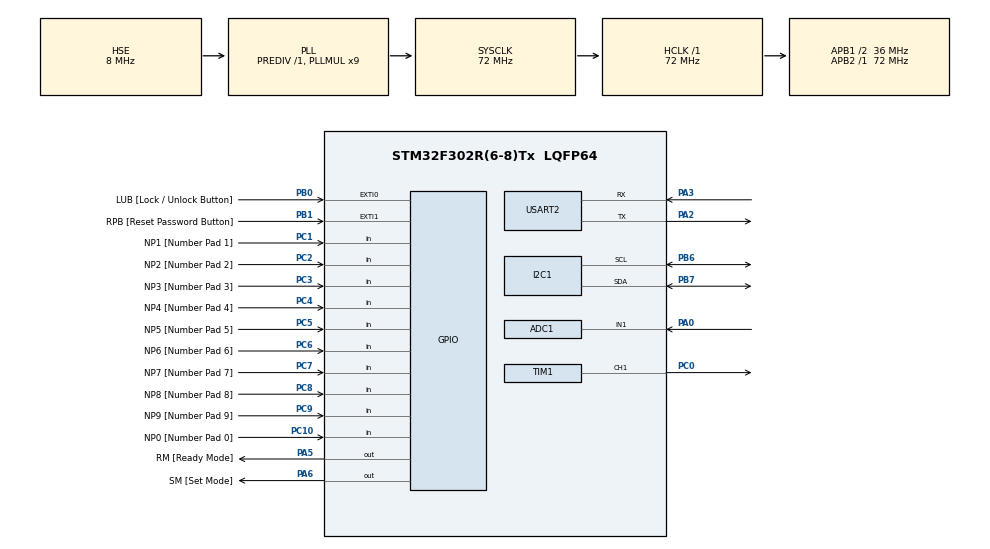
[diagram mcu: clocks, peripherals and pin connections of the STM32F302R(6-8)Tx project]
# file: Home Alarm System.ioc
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ADC1.Channel-0\#ChannelRegularConversion=ADC_CHANNEL_1
ADC1.NbrOfConversionFlag=1
ADC1.Offset-0\#ChannelRegularConversion=0
ADC1.OffsetNumber-0\#ChannelRegularConversion=ADC_OFFSET_NONE
ADC1.Rank-0\#ChannelRegularConversion=1
ADC1.SamplingTime-0\#ChannelRegularConversion=ADC_SAMPLETIME_1CYCLE_5
ADC1.SubFamily=STM32F302x8
ADC1.master=1
I2C1.Timing=0x00201D2B
Mcu.Family=STM32F3
Mcu.Name=STM32F302R(6-8)Tx
Mcu.Package=LQFP64
NVIC.EXTI0_IRQn=true\:0\:0\:false\:false\:true\:true\:true\:true
NVIC.EXTI1_IRQn=true\:0\:0\:false\:false\:true\:true\:true\:true
NVIC.PriorityGroup=NVIC_PRIORITYGROUP_4
NVIC.TIM2_IRQn=true\:0\:0\:false\:false\:true\:true\:true\:true
NVIC.TIM6_DAC_IRQn=true\:0\:0\:false\:false\:true\:true\:true\:true
PA0.Mode=IN1-Single-Ended
PA0.Signal=ADC1_IN1
PA13.Mode=Serial_Wire
PA13.Signal=SYS_JTMS-SWDIO
PA14.Mode=Serial_Wire
PA14.Signal=SYS_JTCK-SWCLK
PA2.Mode=Asynchronous
PA2.Signal=USART2_TX
PA3.Mode=Asynchronous
PA3.Signal=USART2_RX
PA5.GPIO_Label=RM [Ready Mode]
PA5.Signal=GPIO_Output
PA6.GPIO_Label=SM [Set Mode]
PA6.Signal=GPIO_Output
PB0.GPIO_Label=LUB [Lock / Unlock Button]
PB0.GPIO_PuPd=GPIO_PULLUP
PB0.Signal=GPXTI0
PB1.GPIO_Label=RPB [Reset Password Button]
PB1.Signal=GPXTI1
PB6.Mode=I2C
PB6.Signal=I2C1_SCL
PB7.Mode=I2C
PB7.Signal=I2C1_SDA
PC0.Signal=S_TIM1_CH1
PC1.GPIO_Label=NP1 [Number Pad 1]
PC1.GPIO_PuPd=GPIO_PULLUP
PC1.Signal=GPIO_Input
PC10.GPIO_Label=NP0 [Number Pad 0]
PC10.GPIO_PuPd=GPIO_PULLUP
PC10.Signal=GPIO_Input
PC2.GPIO_Label=NP2 [Number Pad 2]
PC2.GPIO_PuPd=GPIO_PULLUP
PC2.Signal=GPIO_Input
PC3.GPIO_Label=NP3 [Number Pad 3]
PC3.GPIO_PuPd=GPIO_PULLUP
PC3.Signal=GPIO_Input
PC4.GPIO_Label=NP4 [Number Pad 4]
PC4.GPIO_PuPd=GPIO_PULLUP
PC4.Signal=GPIO_Input
PC5.GPIO_Label=NP5 [Number Pad 5]
PC5.GPIO_PuPd=GPIO_PULLUP
PC5.Signal=GPIO_Input
PC6.GPIO_Label=NP6 [Number Pad 6]
PC6.GPIO_PuPd=GPIO_PULLUP
PC6.Signal=GPIO_Input
PC7.GPIO_Label=NP7 [Number Pad 7]
PC7.GPIO_PuPd=GPIO_PULLUP
PC7.Signal=GPIO_Input
PC8.GPIO_Label=NP8 [Number Pad 8]
PC8.GPIO_PuPd=GPIO_PULLUP
PC8.Signal=GPIO_Input
PC9.GPIO_Label=NP9 [Number Pad 9]
PC9.GPIO_PuPd=GPIO_PULLUP
PC9.Signal=GPIO_Input
PF0-OSC_IN.Mode=HSE-External-Oscillator
PF0-OSC_IN.Signal=RCC_OSC_IN
PF1-OSC_OUT.Mode=HSE-External-Oscillator
PF1-OSC_OUT.Signal=RCC_OSC_OUT
ProjectManager.HeapSize=0x200
ProjectManager.StackSize=0x400
ProjectManager.TargetToolchain=STM32CubeIDE
RCC.AHBFreq_Value=72000000
RCC.APB1CLKDivider=RCC_HCLK_DIV2
RCC.APB1Freq_Value=36000000
RCC.APB1TimFreq_Value=72000000
RCC.APB2Freq_Value=72000000
RCC.APB2TimFreq_Value=72000000
RCC.CortexFreq_Value=72000000
RCC.HCLKFreq_Value=72000000
RCC.HSE_VALUE=8000000
RCC.HSI_VALUE=8000000
RCC.LSE_VALUE=32768
RCC.PLLMUL=RCC_PLL_MUL9
RCC.PLLSourceVirtual=RCC_PLLSOURCE_HSE
RCC.SYSCLKFreq_VALUE=72000000
RCC.SYSCLKSourceVirtual=RCC_SYSCLKSOURCE_PLLCLK
RCC.USBFreq_Value=72000000
SH.S_TIM1_CH1.0=TIM1_CH1,PWM Generation1 CH1
TIM1.Channel-PWM\ Generation1\ CH1=TIM_CHANNEL_1
TIM1.Period=3522
TIM1.Prescaler=30
TIM2.Period=3522
TIM2.Prescaler=30
TIM6.Period=1799
TIM6.Prescaler=3999
USART2.VirtualMode-Asynchronous=VM_ASYNC
VP_TIM2_VS_ClockSourceINT.Mode=Internal
VP_TIM6_VS_ClockSourceINT.Mode=Enable_Timer
board=custom

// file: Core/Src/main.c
/* USER CODE BEGIN Header */
/**
  ******************************************************************************
  * @file           : main.c
  * @brief          : Main program body
  ******************************************************************************
  * @attention
  *
  * Copyright (c) 2024 STMicroelectronics.
  * All rights reserved.
  *
  * This software is licensed under terms that can be found in the LICENSE file
  * in the root directory of this software component.
  * If no LICENSE file comes with this software, it is provided AS-IS.
  *
  ******************************************************************************
  */
/* USER CODE END Header */
#include "main.h"

/* USER CODE BEGIN Includes */
#include "liquidcrystal_i2c.h"
#include "alarm_system.h"
/* USER CODE END Includes */

ADC_HandleTypeDef hadc1;

I2C_HandleTypeDef hi2c1;

TIM_HandleTypeDef htim1;
TIM_HandleTypeDef htim2;
TIM_HandleTypeDef htim6;

UART_HandleTypeDef huart2;

void SystemClock_Config(void);
static void MX_GPIO_Init(void);
static void MX_ADC1_Init(void);
static void MX_I2C1_Init(void);
static void MX_TIM1_Init(void);
static void MX_TIM2_Init(void);
static void MX_USART2_UART_Init(void);
static void MX_TIM6_Init(void);
/* USER CODE BEGIN PFP */
void AlarmPeripheral_Init(void);
void AlarmIO_Test(void);
/* USER CODE END PFP */

/* USER CODE BEGIN 0 */
void AlarmPeripheral_Init(void) {
	// Set up timer 1 PWM and timer 2 and 6 interrupts
	HAL_TIM_PWM_Start(&htim1, TIM_CHANNEL_1);

	HAL_NVIC_SetPriority(TIM6_DAC_IRQn, 0, 0);
	HAL_NVIC_EnableIRQ(TIM6_DAC_IRQn);
	HAL_TIM_Base_Start_IT(&htim6);

	HAL_NVIC_SetPriority(TIM2_IRQn, 0, 0);
	HAL_NVIC_EnableIRQ(TIM2_IRQn);
	HAL_TIM_Base_Start_IT(&htim2);

	// Set up LCD screen
	HD44780_Init(2);
	HD44780_Clear();

	// Set Ready Mode LED
	HAL_GPIO_WritePin(RM_GPIO_Port, RM_Pin, GPIO_PIN_SET);
}

void AlarmIO_Test(void) {
	HAL_TIM_Base_Stop_IT(&htim6);
	HAL_TIM_Base_Stop_IT(&htim2);
	HAL_GPIO_WritePin(RM_GPIO_Port, RM_Pin, GPIO_PIN_RESET);

	// Test LCD screen
	HD44780_SetCursor(0, 0);
	HD44780_PrintStr("WELCOME TO");
	HD44780_SetCursor(0, 1);
	HD44780_PrintStr("VANDAR SYSTEMS");

	// Test Passive buzzer
	__HAL_TIM_SET_AUTORELOAD(&htim1, ENABLE_BEEP * 2);
	__HAL_TIM_SET_COMPARE(&htim1, TIM_CHANNEL_1, ENABLE_BEEP);

	// Test LEDs
	HAL_GPIO_WritePin(RM_GPIO_Port, RM_Pin, GPIO_PIN_SET);
	HAL_Delay(250);

	HAL_GPIO_WritePin(SM_GPIO_Port, SM_Pin, GPIO_PIN_SET);
	HAL_Delay(250);

	HD44780_Clear();
	__HAL_TIM_SET_AUTORELOAD(&htim1, DISABLE_BEEP * 2);
	__HAL_TIM_SET_COMPARE(&htim1, TIM_CHANNEL_1, DISABLE_BEEP);

	HAL_GPIO_WritePin(RM_GPIO_Port, RM_Pin, GPIO_PIN_RESET);
	HAL_Delay(250);

	HAL_GPIO_WritePin(SM_GPIO_Port, SM_Pin, GPIO_PIN_RESET);
	HAL_Delay(250);

	HAL_TIM_Base_Start_IT(&htim6);
	HAL_TIM_Base_Start_IT(&htim2);
	HAL_GPIO_WritePin(RM_GPIO_Port, RM_Pin, GPIO_PIN_SET);
}
/* USER CODE END 0 */

int main(void)
{

  /* MCU Configuration--------------------------------------------------------*/

  /* Reset of all peripherals, Initializes the Flash interface and the Systick. */
  HAL_Init();

  /* Configure the system clock */
  SystemClock_Config();

  /* Initialize all configured peripherals */
  MX_GPIO_Init();
  MX_ADC1_Init();
  MX_I2C1_Init();
  MX_TIM1_Init();
  MX_TIM2_Init();
  MX_USART2_UART_Init();
  MX_TIM6_Init();
  /* USER CODE BEGIN 2 */
  System_Init();
  AlarmPeripheral_Init();
//  AlarmIO_Test();
  /* USER CODE END 2 */

  /* Infinite loop */
  while (1)
  {

  }
}

void SystemClock_Config(void)
{
  RCC_OscInitTypeDef RCC_OscInitStruct = {0};
  RCC_ClkInitTypeDef RCC_ClkInitStruct = {0};
  RCC_PeriphCLKInitTypeDef PeriphClkInit = {0};

  /** Initializes the RCC Oscillators according to the specified parameters
  * in the RCC_OscInitTypeDef structure.
  */
  RCC_OscInitStruct.OscillatorType = RCC_OSCILLATORTYPE_HSI|RCC_OSCILLATORTYPE_HSE;
  RCC_OscInitStruct.HSEState = RCC_HSE_ON;
  RCC_OscInitStruct.HSEPredivValue = RCC_HSE_PREDIV_DIV1;
  RCC_OscInitStruct.HSIState = RCC_HSI_ON;
  RCC_OscInitStruct.HSICalibrationValue = RCC_HSICALIBRATION_DEFAULT;
  RCC_OscInitStruct.PLL.PLLState = RCC_PLL_ON;
  RCC_OscInitStruct.PLL.PLLSource = RCC_PLLSOURCE_HSE;
  RCC_OscInitStruct.PLL.PLLMUL = RCC_PLL_MUL9;
  if (HAL_RCC_OscConfig(&RCC_OscInitStruct) != HAL_OK)
  {
    Error_Handler();
  }

  /** Initializes the CPU, AHB and APB buses clocks
  */
  RCC_ClkInitStruct.ClockType = RCC_CLOCKTYPE_HCLK|RCC_CLOCKTYPE_SYSCLK
                              |RCC_CLOCKTYPE_PCLK1|RCC_CLOCKTYPE_PCLK2;
  RCC_ClkInitStruct.SYSCLKSource = RCC_SYSCLKSOURCE_PLLCLK;
  RCC_ClkInitStruct.AHBCLKDivider = RCC_SYSCLK_DIV1;
  RCC_ClkInitStruct.APB1CLKDivider = RCC_HCLK_DIV2;
  RCC_ClkInitStruct.APB2CLKDivider = RCC_HCLK_DIV1;

  if (HAL_RCC_ClockConfig(&RCC_ClkInitStruct, FLASH_LATENCY_2) != HAL_OK)
  {
    Error_Handler();
  }
  PeriphClkInit.PeriphClockSelection = RCC_PERIPHCLK_I2C1|RCC_PERIPHCLK_TIM1
                              |RCC_PERIPHCLK_ADC1;
  PeriphClkInit.I2c1ClockSelection = RCC_I2C1CLKSOURCE_HSI;
  PeriphClkInit.Tim1ClockSelection = RCC_TIM1CLK_HCLK;
  PeriphClkInit.Adc1ClockSelection = RCC_ADC1PLLCLK_DIV1;

  if (HAL_RCCEx_PeriphCLKConfig(&PeriphClkInit) != HAL_OK)
  {
    Error_Handler();
  }
}

static void MX_ADC1_Init(void)
{

  ADC_ChannelConfTypeDef sConfig = {0};

  /** Common config
  */
  hadc1.Instance = ADC1;
  hadc1.Init.ClockPrescaler = ADC_CLOCK_ASYNC_DIV1;
  hadc1.Init.Resolution = ADC_RESOLUTION_12B;
  hadc1.Init.ScanConvMode = ADC_SCAN_DISABLE;
  hadc1.Init.ContinuousConvMode = DISABLE;
  hadc1.Init.DiscontinuousConvMode = DISABLE;
  hadc1.Init.ExternalTrigConvEdge = ADC_EXTERNALTRIGCONVEDGE_NONE;
  hadc1.Init.ExternalTrigConv = ADC_SOFTWARE_START;
  hadc1.Init.DataAlign = ADC_DATAALIGN_RIGHT;
  hadc1.Init.NbrOfConversion = 1;
  hadc1.Init.DMAContinuousRequests = DISABLE;
  hadc1.Init.EOCSelection = ADC_EOC_SINGLE_CONV;
  hadc1.Init.LowPowerAutoWait = DISABLE;
  hadc1.Init.Overrun = ADC_OVR_DATA_OVERWRITTEN;
  if (HAL_ADC_Init(&hadc1) != HAL_OK)
  {
    Error_Handler();
  }

  /** Configure Regular Channel
  */
  sConfig.Channel = ADC_CHANNEL_1;
  sConfig.Rank = ADC_REGULAR_RANK_1;
  sConfig.SingleDiff = ADC_SINGLE_ENDED;
  sConfig.SamplingTime = ADC_SAMPLETIME_1CYCLE_5;
  sConfig.OffsetNumber = ADC_OFFSET_NONE;
  sConfig.Offset = 0;
  if (HAL_ADC_ConfigChannel(&hadc1, &sConfig) != HAL_OK)
  {
    Error_Handler();
  }

}

static void MX_I2C1_Init(void)
{

  hi2c1.Instance = I2C1;
  hi2c1.Init.Timing = 0x00201D2B;
  hi2c1.Init.OwnAddress1 = 0;
  hi2c1.Init.AddressingMode = I2C_ADDRESSINGMODE_7BIT;
  hi2c1.Init.DualAddressMode = I2C_DUALADDRESS_DISABLE;
  hi2c1.Init.OwnAddress2 = 0;
  hi2c1.Init.OwnAddress2Masks = I2C_OA2_NOMASK;
  hi2c1.Init.GeneralCallMode = I2C_GENERALCALL_DISABLE;
  hi2c1.Init.NoStretchMode = I2C_NOSTRETCH_DISABLE;
  if (HAL_I2C_Init(&hi2c1) != HAL_OK)
  {
    Error_Handler();
  }

  /** Configure Analogue filter
  */
  if (HAL_I2CEx_ConfigAnalogFilter(&hi2c1, I2C_ANALOGFILTER_ENABLE) != HAL_OK)
  {
    Error_Handler();
  }

  /** Configure Digital filter
  */
  if (HAL_I2CEx_ConfigDigitalFilter(&hi2c1, 0) != HAL_OK)
  {
    Error_Handler();
  }

}

static void MX_TIM1_Init(void)
{

  TIM_MasterConfigTypeDef sMasterConfig = {0};
  TIM_OC_InitTypeDef sConfigOC = {0};
  TIM_BreakDeadTimeConfigTypeDef sBreakDeadTimeConfig = {0};

  htim1.Instance = TIM1;
  htim1.Init.Prescaler = 30;
  htim1.Init.CounterMode = TIM_COUNTERMODE_UP;
  htim1.Init.Period = 3522;
  htim1.Init.ClockDivision = TIM_CLOCKDIVISION_DIV1;
  htim1.Init.RepetitionCounter = 0;
  htim1.Init.AutoReloadPreload = TIM_AUTORELOAD_PRELOAD_DISABLE;
  if (HAL_TIM_PWM_Init(&htim1) != HAL_OK)
  {
    Error_Handler();
  }
  sMasterConfig.MasterOutputTrigger = TIM_TRGO_RESET;
  sMasterConfig.MasterOutputTrigger2 = TIM_TRGO2_RESET;
  sMasterConfig.MasterSlaveMode = TIM_MASTERSLAVEMODE_DISABLE;
  if (HAL_TIMEx_MasterConfigSynchronization(&htim1, &sMasterConfig) != HAL_OK)
  {
    Error_Handler();
  }
  sConfigOC.OCMode = TIM_OCMODE_PWM1;
  sConfigOC.Pulse = 0;
  sConfigOC.OCPolarity = TIM_OCPOLARITY_HIGH;
  sConfigOC.OCNPolarity = TIM_OCNPOLARITY_HIGH;
  sConfigOC.OCFastMode = TIM_OCFAST_DISABLE;
  sConfigOC.OCIdleState = TIM_OCIDLESTATE_RESET;
  sConfigOC.OCNIdleState = TIM_OCNIDLESTATE_RESET;
  if (HAL_TIM_PWM_ConfigChannel(&htim1, &sConfigOC, TIM_CHANNEL_1) != HAL_OK)
  {
    Error_Handler();
  }
  sBreakDeadTimeConfig.OffStateRunMode = TIM_OSSR_DISABLE;
  sBreakDeadTimeConfig.OffStateIDLEMode = TIM_OSSI_DISABLE;
  sBreakDeadTimeConfig.LockLevel = TIM_LOCKLEVEL_OFF;
  sBreakDeadTimeConfig.DeadTime = 0;
  sBreakDeadTimeConfig.BreakState = TIM_BREAK_DISABLE;
  sBreakDeadTimeConfig.BreakPolarity = TIM_BREAKPOLARITY_HIGH;
  sBreakDeadTimeConfig.BreakFilter = 0;
  sBreakDeadTimeConfig.Break2State = TIM_BREAK2_DISABLE;
  sBreakDeadTimeConfig.Break2Polarity = TIM_BREAK2POLARITY_HIGH;
  sBreakDeadTimeConfig.Break2Filter = 0;
  sBreakDeadTimeConfig.AutomaticOutput = TIM_AUTOMATICOUTPUT_DISABLE;
  if (HAL_TIMEx_ConfigBreakDeadTime(&htim1, &sBreakDeadTimeConfig) != HAL_OK)
  {
    Error_Handler();
  }
  HAL_TIM_MspPostInit(&htim1);

}

static void MX_TIM2_Init(void)
{

  TIM_ClockConfigTypeDef sClockSourceConfig = {0};
  TIM_MasterConfigTypeDef sMasterConfig = {0};

  htim2.Instance = TIM2;
  htim2.Init.Prescaler = 30;
  htim2.Init.CounterMode = TIM_COUNTERMODE_UP;
  htim2.Init.Period = 3522;
  htim2.Init.ClockDivision = TIM_CLOCKDIVISION_DIV1;
  htim2.Init.AutoReloadPreload = TIM_AUTORELOAD_PRELOAD_DISABLE;
  if (HAL_TIM_Base_Init(&htim2) != HAL_OK)
  {
    Error_Handler();
  }
  sClockSourceConfig.ClockSource = TIM_CLOCKSOURCE_INTERNAL;
  if (HAL_TIM_ConfigClockSource(&htim2, &sClockSourceConfig) != HAL_OK)
  {
    Error_Handler();
  }
  sMasterConfig.MasterOutputTrigger = TIM_TRGO_RESET;
  sMasterConfig.MasterSlaveMode = TIM_MASTERSLAVEMODE_DISABLE;
  if (HAL_TIMEx_MasterConfigSynchronization(&htim2, &sMasterConfig) != HAL_OK)
  {
    Error_Handler();
  }

}

static void MX_TIM6_Init(void)
{

  TIM_MasterConfigTypeDef sMasterConfig = {0};

  htim6.Instance = TIM6;
  htim6.Init.Prescaler = 3999;
  htim6.Init.CounterMode = TIM_COUNTERMODE_UP;
  htim6.Init.Period = 1799;
  htim6.Init.AutoReloadPreload = TIM_AUTORELOAD_PRELOAD_DISABLE;
  if (HAL_TIM_Base_Init(&htim6) != HAL_OK)
  {
    Error_Handler();
  }
  sMasterConfig.MasterOutputTrigger = TIM_TRGO_RESET;
  sMasterConfig.MasterSlaveMode = TIM_MASTERSLAVEMODE_DISABLE;
  if (HAL_TIMEx_MasterConfigSynchronization(&htim6, &sMasterConfig) != HAL_OK)
  {
    Error_Handler();
  }

}

static void MX_USART2_UART_Init(void)
{

  huart2.Instance = USART2;
  huart2.Init.BaudRate = 38400;
  huart2.Init.WordLength = UART_WORDLENGTH_8B;
  huart2.Init.StopBits = UART_STOPBITS_1;
  huart2.Init.Parity = UART_PARITY_NONE;
  huart2.Init.Mode = UART_MODE_TX_RX;
  huart2.Init.HwFlowCtl = UART_HWCONTROL_NONE;
  huart2.Init.OverSampling = UART_OVERSAMPLING_16;
  huart2.Init.OneBitSampling = UART_ONE_BIT_SAMPLE_DISABLE;
  huart2.AdvancedInit.AdvFeatureInit = UART_ADVFEATURE_NO_INIT;
  if (HAL_UART_Init(&huart2) != HAL_OK)
  {
    Error_Handler();
  }

}

static void MX_GPIO_Init(void)
{
  GPIO_InitTypeDef GPIO_InitStruct = {0};

  /* GPIO Ports Clock Enable */
  __HAL_RCC_GPIOF_CLK_ENABLE();
  __HAL_RCC_GPIOC_CLK_ENABLE();
  __HAL_RCC_GPIOA_CLK_ENABLE();
  __HAL_RCC_GPIOB_CLK_ENABLE();

  /*Configure GPIO pin Output Level */
  HAL_GPIO_WritePin(GPIOA, RM_Pin|SM_Pin, GPIO_PIN_RESET);

  /*Configure GPIO pins : NP1_Pin NP2_Pin NP3_Pin NP4_Pin
                           NP5_Pin NP6_Pin NP7_Pin NP8_Pin
                           NP9_Pin NP0_Pin */
  GPIO_InitStruct.Pin = NP1_Pin|NP2_Pin|NP3_Pin|NP4_Pin
                          |NP5_Pin|NP6_Pin|NP7_Pin|NP8_Pin
                          |NP9_Pin|NP0_Pin;
  GPIO_InitStruct.Mode = GPIO_MODE_INPUT;
  GPIO_InitStruct.Pull = GPIO_PULLUP;
  HAL_GPIO_Init(GPIOC, &GPIO_InitStruct);

  /*Configure GPIO pins : RM_Pin SM_Pin */
  GPIO_InitStruct.Pin = RM_Pin|SM_Pin;
  GPIO_InitStruct.Mode = GPIO_MODE_OUTPUT_PP;
  GPIO_InitStruct.Pull = GPIO_NOPULL;
  GPIO_InitStruct.Speed = GPIO_SPEED_FREQ_LOW;
  HAL_GPIO_Init(GPIOA, &GPIO_InitStruct);

  /*Configure GPIO pin : LUB_Pin */
  GPIO_InitStruct.Pin = LUB_Pin;
  GPIO_InitStruct.Mode = GPIO_MODE_IT_RISING;
  GPIO_InitStruct.Pull = GPIO_PULLUP;
  HAL_GPIO_Init(LUB_GPIO_Port, &GPIO_InitStruct);

  /*Configure GPIO pin : RPB_Pin */
  GPIO_InitStruct.Pin = RPB_Pin;
  GPIO_InitStruct.Mode = GPIO_MODE_IT_RISING;
  GPIO_InitStruct.Pull = GPIO_NOPULL;
  HAL_GPIO_Init(RPB_GPIO_Port, &GPIO_InitStruct);

  /* EXTI interrupt init*/
  HAL_NVIC_SetPriority(EXTI0_IRQn, 0, 0);
  HAL_NVIC_EnableIRQ(EXTI0_IRQn);

  HAL_NVIC_SetPriority(EXTI1_IRQn, 0, 0);
  HAL_NVIC_EnableIRQ(EXTI1_IRQn);

}

void Error_Handler(void)
{
  __disable_irq();
  while (1)
  {
  }
}
